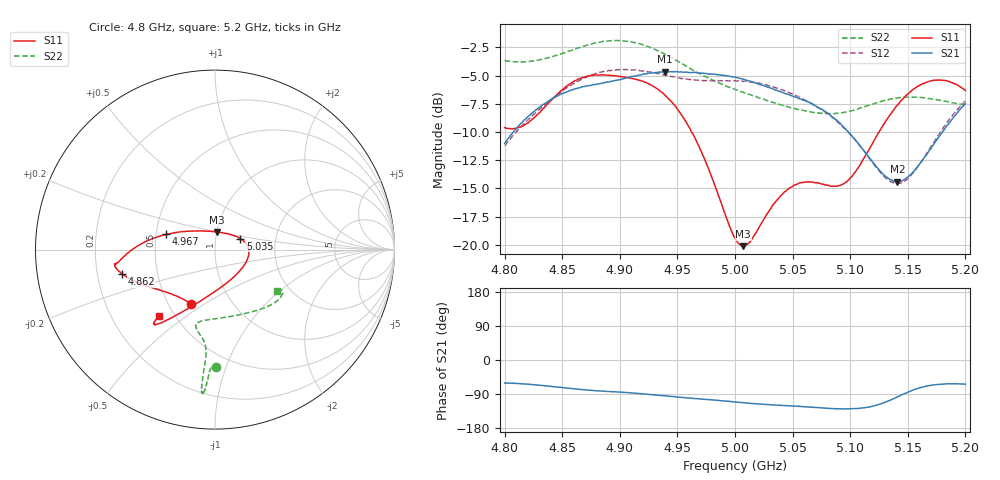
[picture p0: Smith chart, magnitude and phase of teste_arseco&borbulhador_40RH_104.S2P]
! Network Analyzer HP8722D
! Hewlett-Packard
! Data name: Linha & Wilkinson
! Saver's name: Rodrigo Anjos
! Comments: Teste da utilização de aquisição
! continua pelo VNA HP8722D
! Time and date: 15/4/2025 17:13
!  Frequency  S11  S21  S12  S22
# HZ  S  MA R 50
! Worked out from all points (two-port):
!   401 points, 4.8 GHz to 5.2 GHz, reference 50 ohm
!   highest |S21| = -4.65 dB at 4.939 GHz (marker M1); lowest = -14.4 dB at 5.141 GHz (marker M2)
!   |S21| within 3 dB of the highest: 4.832 GHz to 5.069 GHz (237.1 MHz wide, 4.79 % of centre); 5.198503 GHz to end of sweep
!   lowest |S11| = -20.1 dB at 5.007 GHz (marker M3), VSWR 1.22, Z = 50.1 + j9.92 ohm
!   |S11| at or under -10 dB: 4.962 GHz to 5.125 GHz (162.6 MHz wide, 3.22 % of centre)
!   |S22| runs from -8.4 to -1.9 dB; largest |S21 - S12| = 0.88
!   S11 on the Smith chart (normalised r, x): 4.8 GHz: 0.65, -0.44; 4.862 GHz: 0.31, -0.12; 4.967 GHz: 0.57, +0.10; 5.035 GHz: 1.32, +0.17; 5.2 GHz: 0.41, -0.40
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4.8e9  0.3308 -113.7  0.282 -60.8  0.2749 -174.9  0.6544 -89.4
4.819e9  0.3443 -133.4  0.3645 -63.6  0.3527 -173.2  0.6488 -91.2
4.862e9  0.5355 -165.4  0.4928 -76.6  0.5253 -176.2  0.7401 -93.5
4.867e9  0.5493 -167.4  0.501 -78.0  0.5414 -177.3  0.7537 -93.6
4.899e9  0.5575 -172.0  0.537 -84.7  0.5974 176.0  0.8027 -95.0
4.934e9  0.486 -177.8  0.5816 -93.3  0.5746 172.0  0.7195 -95.5
4.939e9  0.4621 -180.0  0.5858 -94.7  0.5662 172.0  0.7006 -95.4
4.954e9  0.3741 172.0  0.5826 -98.8  0.5462 172.7  0.6344 -95.1
4.967e9  0.285 162.7  0.5803 -102.0  0.5364 174.1  0.5805 -94.9
5e9  0.1073 107.5  0.5531 -110.8  0.5344 176.5  0.4889 -99.2
5.007e9  0.0987 84.0  0.5424 -112.5  0.5289 176.6  0.4737 -100.7
5.014e9  0.1045 61.8  0.5298 -114.6  0.5252 176.3  0.461 -102.4
5.035e9  0.1545 23.3  0.4846 -118.9  0.4977 175.3  0.4249 -103.9
5.05e9  0.1817 7.3  0.4565 -121.6  0.4654 174.6  0.4042 -100.3
5.067e9  0.19 -11.0  0.422 -124.7  0.4222 174.1  0.3873 -91.9
5.086e9  0.1818 -41.4  0.3644 -128.3  0.3617 173.8  0.3819 -77.9
5.097e9  0.1902 -64.6  0.3213 -129.0  0.3211 174.5  0.3886 -68.6
5.134e9  0.3727 -115.9  0.1955 -106.8  0.1922 -159.8  0.4415 -43.4
5.141e9  0.4159 -119.9  0.1903 -97.2  0.1873 -148.9  0.4477 -40.2
5.153e9  0.4813 -124.8  0.2062 -81.1  0.2038 -130.2  0.4516 -35.9
5.171e9  0.5335 -128.6  0.2724 -66.4  0.2769 -112.3  0.4428 -31.8
5.2e9  0.4829 -130.2  0.4222 -63.9  0.4339 -105.9  0.4155 -33.3
